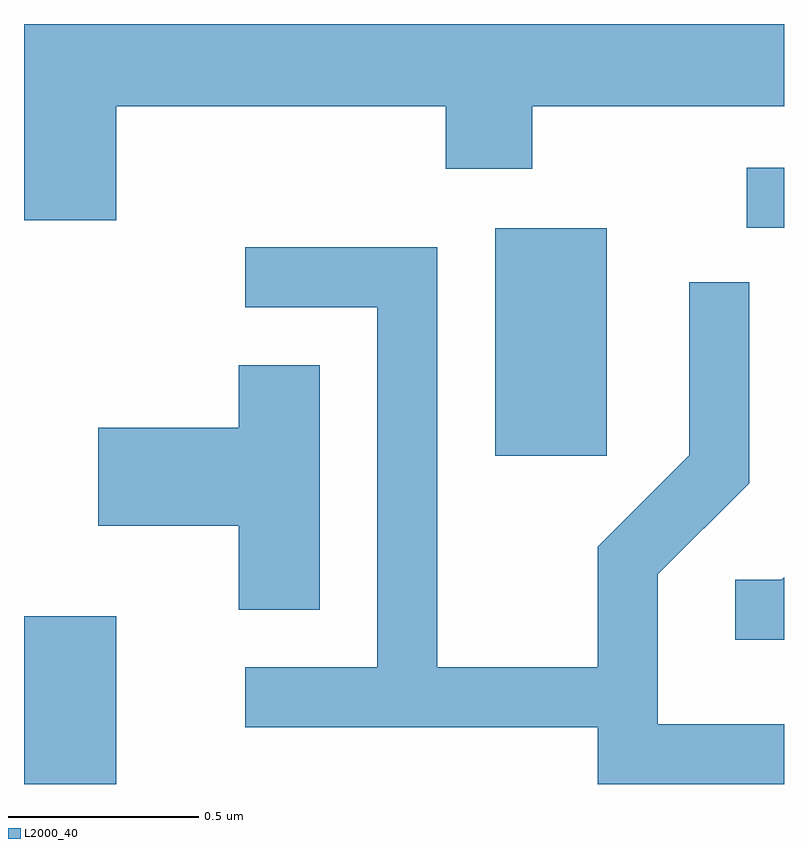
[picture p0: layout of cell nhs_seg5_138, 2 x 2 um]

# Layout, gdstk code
import gdstk
lib = gdstk.Library(unit=1e-6, precision=1e-09)
def R(c, l, rs):  # rectangles x0, y0, x1, y1
    for r in rs: c.add(gdstk.rectangle(r[:2], r[2:], *l))
def P(c, l, *ps):  # polygons
    for p in ps: c.add(gdstk.Polygon(p, *l))
L2000_40 = (2000, 40)

nhs_seg5_138 = lib.new_cell('nhs_seg5_138')
R(nhs_seg5_138, L2000_40, [(186.611,1395.072,186.854,1395.514), (187.851,1395.936,188.144,1396.534), (188.513,1396.536,188.611,1396.694)])
P(nhs_seg5_138, L2000_40, [(186.854,1396.856),(187.721,1396.856),(187.721,1396.691),(187.949,1396.691),(187.949,1396.856),(188.611,1396.856),(188.611,1397.072),(186.611,1397.072),(186.611,1396.556),(186.854,1396.556)],
  [(188.611,1395.229),(188.279,1395.229),(188.279,1395.624),(188.519,1395.864),(188.519,1396.393),(188.361,1396.393),(188.361,1395.937),(188.121,1395.697),(188.121,1395.379),(187.699,1395.379),(187.699,1396.484),(187.193,1396.484),(187.193,1396.326),(187.541,1396.326),(187.541,1395.379),(187.193,1395.379),(187.193,1395.221),(188.121,1395.221),(188.121,1395.072),(188.611,1395.072)],
  [(187.389,1396.174),(187.176,1396.174),(187.176,1396.009),(186.806,1396.009),(186.806,1395.751),(187.176,1395.751),(187.176,1395.531),(187.389,1395.531)],
  [(188.611,1395.616),(188.604,1395.609),(188.483,1395.609),(188.483,1395.451),(188.611,1395.451)])

lib.write_gds('nhs_seg5_138.gds')
